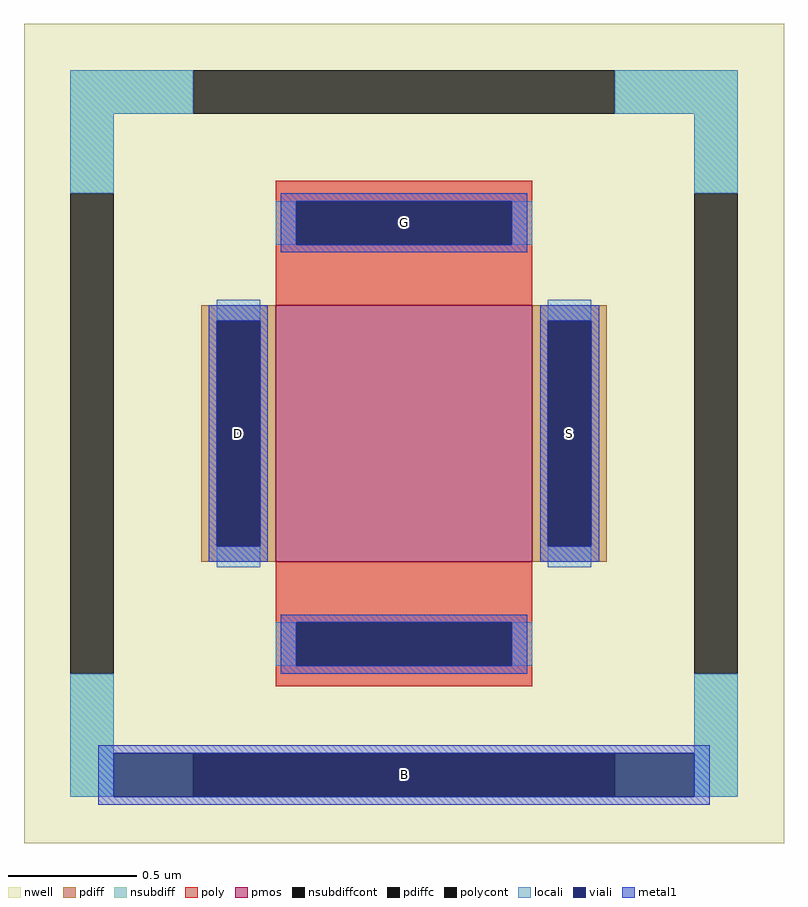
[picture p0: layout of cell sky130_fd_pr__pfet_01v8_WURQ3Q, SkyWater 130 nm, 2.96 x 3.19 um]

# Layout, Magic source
magic
tech sky130A
magscale 1 2
<< nwell >>
rect -296 -319 296 319
<< pmos >>
rect -100 -100 100 100
<< pdiff >>
rect -158 88 -100 100
rect -158 -88 -146 88
rect -112 -88 -100 88
rect -158 -100 -100 -88
rect 100 88 158 100
rect 100 -88 112 88
rect 146 -88 158 88
rect 100 -100 158 -88
<< pdiffc >>
rect -146 -88 -112 88
rect 112 -88 146 88
<< nsubdiff >>
rect -260 249 -164 283
rect 164 249 260 283
rect -260 187 -226 249
rect 226 187 260 249
rect -260 -249 -226 -187
rect 226 -249 260 -187
rect -260 -283 -164 -249
rect 164 -283 260 -249
<< nsubdiffcont >>
rect -164 249 164 283
rect -260 -187 -226 187
rect 226 -187 260 187
rect -164 -283 164 -249
<< poly >>
rect -100 181 100 197
rect -100 147 -84 181
rect 84 147 100 181
rect -100 100 100 147
rect -100 -147 100 -100
rect -100 -181 -84 -147
rect 84 -181 100 -147
rect -100 -197 100 -181
<< polycont >>
rect -84 147 84 181
rect -84 -181 84 -147
<< locali >>
rect -260 249 -164 283
rect 164 249 260 283
rect -260 187 -226 249
rect 226 187 260 249
rect -100 147 -84 181
rect 84 147 100 181
rect -146 88 -112 104
rect -146 -104 -112 -88
rect 112 88 146 104
rect 112 -104 146 -88
rect -100 -181 -84 -147
rect 84 -181 100 -147
rect -260 -283 -226 -187
rect 226 -283 260 -187
<< viali >>
rect -84 147 84 181
rect -146 -88 -112 88
rect 112 -88 146 88
rect -84 -181 84 -147
rect -226 -283 -164 -249
rect -164 -283 164 -249
rect 164 -283 226 -249
<< metal1 >>
rect -96 181 96 187
rect -96 147 -84 181
rect 84 147 96 181
rect -96 141 96 147
rect -152 88 -106 100
rect -152 -88 -146 88
rect -112 -88 -106 88
rect -152 -100 -106 -88
rect 106 88 152 100
rect 106 -88 112 88
rect 146 -88 152 88
rect 106 -100 152 -88
rect -96 -147 96 -141
rect -96 -181 -84 -147
rect 84 -181 96 -147
rect -96 -187 96 -181
rect -238 -249 238 -243
rect -238 -283 -226 -249
rect 226 -283 238 -249
rect -238 -289 238 -283
<< labels >>
rlabel nsubdiffcont 0 -266 0 -266 0 B
port 1 nsew
rlabel pdiffc -129 0 -129 0 0 D
port 2 nsew
rlabel pdiffc 129 0 129 0 0 S
port 3 nsew
rlabel polycont 0 164 0 164 0 G
port 4 nsew
<< properties >>
string FIXED_BBOX -243 -266 243 266
string gencell sky130_fd_pr__pfet_01v8
string library sky130
string parameters w 1.0 l 1.0 m 1 nf 1 diffcov 100 polycov 100 guard 1 glc 1 grc 1 gtc 1 gbc 1 tbcov 100 rlcov 100 topc 1 botc 1 poverlap 0 doverlap 1 lmin 0.15 wmin 0.42 class mosfet compatible {sky130_fd_pr__pfet_01v8  sky130_fd_pr__pfet_01v8_lvt sky130_fd_pr__pfet_01v8_hvt  sky130_fd_pr__pfet_g5v0d10v5} full_metal 1 conn_gates 0 viasrc 100 viadrn 100 viagate 100 viagb 100 viagr 0 viagl 0 viagt 0 doports 1
<< end >>
